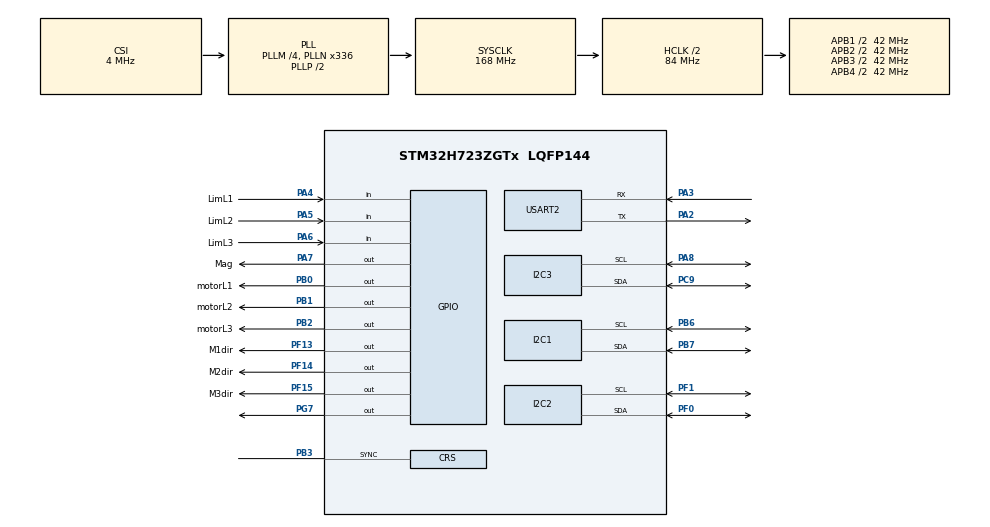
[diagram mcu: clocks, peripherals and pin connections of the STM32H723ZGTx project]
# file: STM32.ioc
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Dma.Request0=USART2_RX
Dma.USART2_RX.0.Direction=DMA_PERIPH_TO_MEMORY
Dma.USART2_RX.0.EventEnable=DISABLE
Dma.USART2_RX.0.FIFOMode=DMA_FIFOMODE_DISABLE
Dma.USART2_RX.0.Instance=DMA1_Stream0
Dma.USART2_RX.0.MemDataAlignment=DMA_MDATAALIGN_BYTE
Dma.USART2_RX.0.MemInc=DMA_MINC_ENABLE
Dma.USART2_RX.0.Mode=DMA_NORMAL
Dma.USART2_RX.0.PeriphDataAlignment=DMA_PDATAALIGN_BYTE
Dma.USART2_RX.0.PeriphInc=DMA_PINC_DISABLE
Dma.USART2_RX.0.Polarity=HAL_DMAMUX_REQ_GEN_RISING
Dma.USART2_RX.0.Priority=DMA_PRIORITY_LOW
Dma.USART2_RX.0.RequestNumber=1
Dma.USART2_RX.0.SignalID=NONE
Dma.USART2_RX.0.SyncEnable=DISABLE
Dma.USART2_RX.0.SyncPolarity=HAL_DMAMUX_SYNC_NO_EVENT
Dma.USART2_RX.0.SyncRequestNumber=1
Dma.USART2_RX.0.SyncSignalID=NONE
I2C1.Timing=0x00A0A3F7
I2C2.Timing=0x00A0A3F7
I2C3.Timing=0x00A0A3F7
Mcu.Family=STM32H7
Mcu.Name=STM32H723ZGTx
Mcu.Package=LQFP144
NVIC.DMA1_Stream0_IRQn=true\:0\:0\:false\:false\:true\:false\:true\:true
NVIC.PriorityGroup=NVIC_PRIORITYGROUP_4
NVIC.TIM2_IRQn=true\:0\:0\:false\:false\:true\:true\:true\:true
NVIC.TIM4_IRQn=true\:0\:0\:false\:false\:true\:true\:true\:true
PA2.Mode=Asynchronous
PA2.Signal=USART2_TX
PA3.Mode=Asynchronous
PA3.Signal=USART2_RX
PA4.GPIO_Label=LimL1
PA4.GPIO_PuPd=GPIO_PULLDOWN
PA4.Signal=GPIO_Input
PA5.GPIO_Label=LimL2
PA5.GPIO_PuPd=GPIO_PULLDOWN
PA5.Signal=GPIO_Input
PA6.GPIO_Label=LimL3
PA6.GPIO_PuPd=GPIO_PULLDOWN
PA6.Signal=GPIO_Input
PA7.GPIO_Label=Mag
PA7.PinState=GPIO_PIN_RESET
PA7.Signal=GPIO_Output
PA8.Mode=I2C
PA8.Signal=I2C3_SCL
PB0.GPIO_Label=motorL1
PB0.GPIO_Speed=GPIO_SPEED_FREQ_MEDIUM
PB0.PinState=GPIO_PIN_RESET
PB0.Signal=GPIO_Output
PB1.GPIO_Label=motorL2
PB1.GPIO_ModeDefaultOutputPP=GPIO_MODE_OUTPUT_PP
PB1.GPIO_Speed=GPIO_SPEED_FREQ_MEDIUM
PB1.PinState=GPIO_PIN_RESET
PB1.Signal=GPIO_Output
PB2.GPIO_Label=motorL3
PB2.GPIO_Speed=GPIO_SPEED_FREQ_VERY_HIGH
PB2.PinState=GPIO_PIN_RESET
PB2.Signal=GPIO_Output
PB3(JTDO/TRACESWO).Mode=CRS SYNC Source GPIO
PB3(JTDO/TRACESWO).Signal=CRS_SYNC
PB6.Mode=I2C
PB6.Signal=I2C1_SCL
PB7.Mode=I2C
PB7.Signal=I2C1_SDA
PC9.Mode=I2C
PC9.Signal=I2C3_SDA
PF0.Mode=I2C
PF0.Signal=I2C2_SDA
PF1.Mode=I2C
PF1.Signal=I2C2_SCL
PF13.GPIO_Label=M1dir
PF13.Signal=GPIO_Output
PF14.GPIO_Label=M2dir
PF14.Signal=GPIO_Output
PF15.GPIO_Label=M3dir
PF15.Signal=GPIO_Output
PG7.Signal=GPIO_Output
PH0-OSC_IN.Mode=HSE-External-Oscillator
PH0-OSC_IN.Signal=RCC_OSC_IN
PH1-OSC_OUT.Mode=HSE-External-Oscillator
PH1-OSC_OUT.Signal=RCC_OSC_OUT
ProjectManager.HeapSize=0x200
ProjectManager.StackSize=0x400
ProjectManager.TargetToolchain=STM32CubeIDE
RCC.ADCFreq_Value=8062500
RCC.APB1Freq_Value=42000000
RCC.APB2Freq_Value=42000000
RCC.APB3Freq_Value=42000000
RCC.APB4Freq_Value=42000000
RCC.CortexFreq_Value=84000000
RCC.D1CPRE=RCC_SYSCLK_DIV2
RCC.D1PPRE=RCC_APB3_DIV2
RCC.D2PPRE1=RCC_APB1_DIV2
RCC.D2PPRE2=RCC_APB2_DIV2
RCC.D3PPRE=RCC_APB4_DIV2
RCC.DIVM1=4
RCC.DIVN1=336
RCC.HCLKFreq_Value=84000000
RCC.HSE_VALUE=8000000
RCC.PLL2FRACN=0
RCC.PLL3FRACN=0
RCC.PLLFRACN=0
RCC.PLLSourceVirtual=RCC_PLLSOURCE_CSI
RCC.SYSCLKFreq_VALUE=168000000
RCC.SYSCLKSource=RCC_SYSCLKSOURCE_PLLCLK
RCC.USBFreq_Value=168000000
TIM2.Period=1
TIM2.Prescaler=42000
TIM4.Period=4
TIM4.Prescaler=840
USART2.VirtualMode-Asynchronous=VM_ASYNC
VP_TIM2_VS_ClockSourceINT.Mode=Internal
VP_TIM4_VS_ClockSourceINT.Mode=Internal
board=custom

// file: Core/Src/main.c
/* USER CODE BEGIN Header */
/**
  ******************************************************************************
  * @file           : main.c
  * @brief          : Main program body
  ******************************************************************************
  * @attention
  *
  * Copyright (c) 2024 STMicroelectronics.
  * All rights reserved.
  *
  * This software is licensed under terms that can be found in the LICENSE file
  * in the root directory of this software component.
  * If no LICENSE file comes with this software, it is provided AS-IS.
  *
  ******************************************************************************
  */
/* USER CODE END Header */
#include "main.h"

/* USER CODE BEGIN Includes */
#include "as5600.h"
#include <stdlib.h>
#include <string.h>
#include <stdlib.h>

/* USER CODE END Includes */

/* USER CODE BEGIN PD */
#define BASE_INTERRUPT_PERIOD_MICROS 25
#define FASTEST_PERIOD_MICROS 100  // Fastest pulse period = 250 microseconds
#define HOMING_PULSE_LIMIT  50000

/* USER CODE END PD */

/* USER CODE BEGIN PM */
AS5600_TypeDef *angleL1;
AS5600_TypeDef *angleL2;
AS5600_TypeDef *angleL3;
/* USER CODE END PM */

I2C_HandleTypeDef hi2c1;
I2C_HandleTypeDef hi2c2;
I2C_HandleTypeDef hi2c3;

TIM_HandleTypeDef htim2;
TIM_HandleTypeDef htim4;

UART_HandleTypeDef huart2;
DMA_HandleTypeDef hdma_usart2_rx;

/* USER CODE BEGIN PV */
float angle1, angle2, angle3 = 0.0, error = 0;
int angle11, angle21, angle31 = 0;
int HOME = 0;

// Define counters for each motor
int countPulseL1 = 0;
int countPulseL2 = 0;
int countPulseL3 = 0;

int a,b,c = 0;
float d = 0;
float e = 0, f = 0,g = 0,h =0,i=0,p=0;
int dir1, dir2, dir3 = 1;
float a3Ratio = 0;
int count = 0;
// Soft counters and periods
int softCounter1 = 0;
int softCounter2 = 0;
int softCounter3 = 0;

int periodMotor1 = 0;
int periodMotor2 = 0;
int periodMotor3 = 0;

float target_angle_1 = 0;
float target_angle_2 = 0;
float target_angle_3 = 0;
float target_angle_1_temp = 1;
float target_angle_2_temp = 1;
float target_angle_3_temp = 1;

int steps_motor_1 = 0;
int steps_motor_2 = 0;
int steps_motor_3 = 0;

char rx_data[30];  // Buffer for incoming data (adjust size as needed)
float rx_angle1, rx_angle2, rx_angle3 = 0;
int receiveComplete;

/* USER CODE END PV */

void SystemClock_Config(void);
static void MX_GPIO_Init(void);
static void MX_DMA_Init(void);
static void MX_I2C1_Init(void);
static void MX_I2C2_Init(void);
static void MX_I2C3_Init(void);
static void MX_TIM4_Init(void);
static void MX_TIM2_Init(void);
static void MX_USART2_UART_Init(void);
/* USER CODE BEGIN PFP */
void pulseCreater(void);
void angleControl(float target_angle_1, float target_angle_2, float target_angle_3);
void update_current_angle(int motor_index, float steps,int direction);
void checkLimitSwitches(void) ;
void setHomeAngles();
/* USER CODE END PFP */

/* USER CODE BEGIN 0 */
//----------------------Ngat Sensor----------------------//
void HAL_TIM_PeriodElapsedCallback(TIM_HandleTypeDef *htim)
{

	//------------
	if (htim->Instance==htim2.Instance)
	{
		if (HOME == 1){
			g+=1;
//			if ( g >= 20000){
//				g = 10000;
//			}
//			if(g > 20000){
//				target_angle_1 = 0;
//				target_angle_2 = 43.2;
//				target_angle_3 = -118;
//			}else if (g > 15000){
//				target_angle_1 = 45;
//				target_angle_2 = 42.42;
//				target_angle_3 = -135.5;
//
//			}else if (g > 14000){
//				target_angle_1 = 45;
//				target_angle_2 = 31.4;
//				target_angle_3 = -90.8;
//
//
//			}else if (g > 10000){
//				target_angle_1 = 0;
//				target_angle_2 = 43.2;
//				target_angle_3 = -118;
//
//			}else{
//				target_angle_1 = 0;
//				target_angle_2 = 90;
//				target_angle_3 = -90;
//			}

			if (g > 47000){
				g = 0;
			}

			if(g > 43000){
				target_angle_1 = 0;
				target_angle_2 = 75;
				target_angle_3 = -90;
			}else if (g > 40000){
				target_angle_1 = 14.04;
				target_angle_2 = 25.65;
				target_angle_3 = -63.8;

			}
			else if (g > 37000){
				target_angle_1 = 0;
				target_angle_2 = 75;
				target_angle_3 = -90;

			}
			else if (g > 34000){
				target_angle_1 = 8.13;
				target_angle_2 = 37.36;
				target_angle_3 = -88.96;

			}
			else if (g > 28000){
				target_angle_1 = 0;
				target_angle_2 = 75;
				target_angle_3 = -90;

			}
			else if (g > 25000){
				target_angle_1 = -9.462;
				target_angle_2 = 44.87;
				target_angle_3 = -106.3;

			}else if (g > 21000){
				target_angle_1 = 0;
				target_angle_2 = 75;
				target_angle_3 = -90;

			}
			else if (g > 18000){
				target_angle_1 = 18.43;
				target_angle_2 = 41.98;
				target_angle_3 = -101.9;

			}
			else if (g > 12000){
							target_angle_1 = 0;
							target_angle_2 = 75;
							target_angle_3 = -90;

						}
			else if (g > 9000){
				target_angle_1 = 0;
				target_angle_2 = 45.43;
				target_angle_3 = -107.6;

			}
			else if (g > 6000){
				target_angle_1 = 0;
				target_angle_2 = 75;
				target_angle_3 = -90;

			}

			else{
				target_angle_1 = 0;
				target_angle_2 = 55.39;
				target_angle_3 = -137.4;
			}

			if ((target_angle_1 != target_angle_1_temp)||(target_angle_2 != target_angle_2_temp)||(target_angle_3 != target_angle_3_temp)){

				target_angle_1_temp = target_angle_1;
				target_angle_2_temp = target_angle_2;
				target_angle_3_temp = target_angle_3;
				countPulseL1 = 0;
				countPulseL2 = 0;
				countPulseL3 = 0;

				angleControl(target_angle_1,target_angle_2,target_angle_3);

			}
			//angle3 = - angle2+ angle3;
			angleControl(target_angle_1,target_angle_2,target_angle_3);

		}
	}

	if (htim->Instance == TIM4)
	{  // Ensure the correct timer is being checked
		// Handle Motor 1
		if (countPulseL1 > 0) {
			softCounter1++;  // Increment soft counter for motor 1
			if (softCounter1 >= periodMotor1) {  // If soft counter reaches the desired period
				HAL_GPIO_TogglePin(GPIOB, motorL1_Pin);  // Toggle Motor 1 pin (generate pulse)
				softCounter1 = 0;  // Reset the soft counter for motor 1
				countPulseL1--;    // Decrement the pulse count
				//e = 360/(44800*2);
				update_current_angle(1,1.0,dir1);
			}
		} else {
			HAL_GPIO_WritePin(GPIOB, motorL1_Pin, GPIO_PIN_RESET);  // Stop Motor 1
		}

		// Handle Motor 2
		if (countPulseL2 > 0) {
			softCounter2++;  // Increment soft counter for motor 2
			if (softCounter2 >= periodMotor2) {  // If soft counter reaches the desired period
				HAL_GPIO_TogglePin(GPIOB, motorL2_Pin);  // Toggle Motor 2 pin (generate pulse)
				softCounter2 = 0;  // Reset the soft counter for motor 2
				countPulseL2--;    // Decrement the pulse count
				update_current_angle(2,1.0,dir2);

			}
		} else {
			HAL_GPIO_WritePin(GPIOB, motorL2_Pin, GPIO_PIN_RESET);  // Stop Motor 2
		}

		// Handle Motor 3
		if (countPulseL3 > 0) {
			softCounter3++;  // Increment soft counter for motor 3
			if (softCounter3 >= periodMotor3) {  // If soft counter reaches the desired period
				HAL_GPIO_TogglePin(GPIOB, motorL3_Pin);  // Toggle Motor 3 pin (generate pulse)
				softCounter3 = 0;  // Reset the soft counter for motor 3
				countPulseL3--;    // Decrement the pulse count
				update_current_angle(3,1.0, dir3);

			}
		} else {
			HAL_GPIO_WritePin(GPIOB, motorL3_Pin, GPIO_PIN_RESET);  // Stop Motor 3
		}
	}
}
//----------------------Pulse Creater--------------------//
int char_to_int(char c)
{
	return (int)(c) - 48;
}

void HAL_UART_RxCpltCallback(UART_HandleTypeDef *huart)
{
	if (huart->Instance == USART2)
	    {
	        // Ensure received data is null-terminated
	        rx_data[29] = '\0';

	        // Parse the received string using strtok
	        char *token = strtok(rx_data, ",");  // Split by comma
	        if (token != NULL) rx_angle1 = atof(token);

	        token = strtok(NULL, ",");
	        if (token != NULL) rx_angle2 = atof(token);

	        token = strtok(NULL, ",");
	        if (token != NULL) rx_angle3 = atof(token);

	        // Restart reception
	        HAL_UART_Receive_DMA(&huart2, (uint8_t *)rx_data, 29);  // Adjust size based on expected length
	        receiveComplete = 1;
	    }
}

void Mag_Control(int state)
{
	HAL_GPIO_WritePin(Mag_GPIO_Port, Mag_Pin, state);
}

void Read_Angles(void)
{
    // Read raw angle from angleL1 sensor
    AS5600_GetRawAngle(angleL1, &angle1);

    // Read raw angle from angleL2 sensor
    AS5600_GetRawAngle(angleL2, &angle2);

    // Read raw angle from angleL3 sensor
    AS5600_GetRawAngle(angleL3, &angle3);

}

void update_current_angle(int motor_index, float steps, int direction) {
    float angle_change = steps * 360.0 / (43840.0 * 2.0); // Calculate the change in angle

    // If direction is negative, reverse the angle change
    if (direction < 0) {
        angle_change = -angle_change;
    }

    switch (motor_index){
        case 1:
            angle1 += angle_change; // Update current angle for motor 1
            break;
        case 2:
            angle2 += angle_change; // Update current angle for motor 2
            angle3 -= angle_change;
            break;
        case 3:
            angle3 += angle_change; // Update current angle for motor 3
            break;
    }
}

int calculate_steps(float current_angle, float target_angle)
{
    // Calculate the angular difference

    float angular_difference ;
    float temp,i;

    temp = target_angle - current_angle;
    if (temp > 0){
    	i = 1;
    }else{
    	i = -1;
    }
	if (fabs(temp) == 0){
		angular_difference = 0;
	}else{
		angular_difference = (target_angle) - current_angle;
	}

    // Convert angular difference to steps
	int steps_needed = (((angular_difference) / 360.0) * 43840.0 * 2.0);
	d = (int)round((0.98 / 360.0) * 43840 * 2.0);
    // Return the absolute number of steps (stepper motors can't move negative steps)
    return steps_needed;
}

int maxSteps(int steps_motor_1, int steps_motor_2, int steps_motor_3)
{
    int max_value = steps_motor_1;  // Assume motor 1 has the maximum steps

    if (steps_motor_2 > max_value) {
        max_value = steps_motor_2;  // Update if motor 2 has more steps
    }

    if (steps_motor_3 > max_value) {
        max_value = steps_motor_3;  // Update if motor 3 has more steps
    }

    return max_value;  // Return the largest number of steps
}

void angleControl(float target_angle_1, float target_angle_2, float target_angle_3) {
	// Read the current angles from the sensors
	//Read_Angles();

	// Calculate the required steps for each motor based on current and target angles
	int steps_motor_1 = calculate_steps(angle1, (target_angle_1));
	int steps_motor_2 = calculate_steps(angle2, (target_angle_2));
	//f = steps_motor_2;
	int steps_motor_3 = calculate_steps(angle3, target_angle_3);

	// Set the pulse counts for each motor
	countPulseL1 = abs(steps_motor_1);
	countPulseL2 = abs(steps_motor_2) ;
	error = angle3 - target_angle_3;

	//countPulseL3 =abs(abs(steps_motor_3) + countPulseL2);
	//steps_motor_3 = countPulseL3;
	//steps_motor_3 = countPulseL3;

	// Determine the direction for each motor and set control pins accordingly
	if (target_angle_1 > angle1) {
		// Move motor 1 clockwise
		dir1 = 1;
		HAL_GPIO_WritePin(GPIOF, M1dir_Pin, GPIO_PIN_SET);

	} else {
		dir1 = -1;
		// Move motor 1 counterclockwise
		HAL_GPIO_WritePin(GPIOF, M1dir_Pin, GPIO_PIN_RESET);
	}

	if (target_angle_2 >= angle2) {
		// Move motor 2 clockwise
		dir2 = 1;
		HAL_GPIO_WritePin(GPIOF, M2dir_Pin, GPIO_PIN_SET);
	} else {
		// Move motor 2 counterclockwise
		dir2 = -1;
		HAL_GPIO_WritePin(GPIOF, M2dir_Pin, GPIO_PIN_RESET);
	}

	if (steps_motor_2 == 0){
		dir2 =1;
	}else if (steps_motor_1 == 0){
		dir3 = -1;
	}

	if (target_angle_3 > angle3 && dir2 == 1) {
		// Motor 3 moves clockwise when Motor 2 is moving clockwise
		h = 1;
		dir3 = 1;
		f = steps_motor_3;
		countPulseL3 = abs(steps_motor_3);
		steps_motor_3 = countPulseL3;
		HAL_GPIO_WritePin(GPIOF, M3dir_Pin, GPIO_PIN_RESET);
	}
	else if (target_angle_3 < angle3 && dir2 == 1) {
		// Motor 3 moves counterclockwise when Motor 2 is moving counterclockwise
		h = 2;
		dir3 = -1;
		countPulseL3 =abs(steps_motor_3);
		steps_motor_3 = countPulseL3;
		HAL_GPIO_WritePin(GPIOF, M3dir_Pin, GPIO_PIN_SET);
	} else if (target_angle_3 < angle3 && dir2 == -1) {
		// Motor 3 moves counterclockwise when Motor 2 is moving counterclockwise
		h = 3;
		dir3 = -1;
		countPulseL3 =abs(steps_motor_3);
		steps_motor_3 = countPulseL3;
		HAL_GPIO_WritePin(GPIOF, M3dir_Pin, GPIO_PIN_SET);
	}
	else if (target_angle_3 > angle3 && dir2 == -1) {
		// Motor 3 moves counterclockwise when Motor 2 is moving counterclockwise
		h = 4;
		dir3 = 1;
		f = steps_motor_3;
		countPulseL3 = abs( steps_motor_3);
		steps_motor_3 = countPulseL3;
		HAL_GPIO_WritePin(GPIOF, M3dir_Pin, GPIO_PIN_RESET);
	} else {
		// Maintain angle3 in sync with angle2’s direction
		h =5;
		dir3 = dir2;
		HAL_GPIO_WritePin(GPIOF, M3dir_Pin, dir3 == 1 ? GPIO_PIN_RESET : GPIO_PIN_SET);
	}

	// Determine the maximum steps needed to synchronize the motors
	int max_steps = maxSteps(abs(steps_motor_1), abs(steps_motor_2), abs(steps_motor_3));

	// Calculate the pulse periods for each motor based on the maximum steps
	periodMotor1 = (int)(((float)max_steps / abs(steps_motor_1)) * (FASTEST_PERIOD_MICROS / BASE_INTERRUPT_PERIOD_MICROS));
	periodMotor2 = (int)(((float)max_steps / abs(steps_motor_2)) * (FASTEST_PERIOD_MICROS / BASE_INTERRUPT_PERIOD_MICROS));
	periodMotor3 = (int)(((float)max_steps / abs(steps_motor_3)) * (FASTEST_PERIOD_MICROS / BASE_INTERRUPT_PERIOD_MICROS));

	// Start the timer if it is not already running (ensure the timer has been initialized)
	//HAL_TIM_Base_Start_IT(&htim4);
}

void autoHomeMotors(void) {
    // Set initial movement direction for homing (assumes motors move towards the limit switches)
    HAL_GPIO_WritePin(GPIOF, M1dir_Pin, GPIO_PIN_RESET); // Move Motor 1 in the homing direction
    HAL_GPIO_WritePin(GPIOF, M2dir_Pin, GPIO_PIN_SET); // Move Motor 2 in the homing direction
    HAL_GPIO_WritePin(GPIOF, M3dir_Pin, GPIO_PIN_SET); // Move Motor 3 in the homing direction

    // Start moving the motors
    countPulseL1 = HOMING_PULSE_LIMIT;  // Arbitrary large value for homing
    countPulseL2 = HOMING_PULSE_LIMIT;  // Arbitrary large value for homing
    countPulseL3 = HOMING_PULSE_LIMIT;  // Arbitrary large value for homing

    periodMotor1 = 8;
	periodMotor2 = 8;
	periodMotor3 = 20;
	int i = 0;

    // Wait until all limit switches are triggered
    while (a == 0 || b == 0 || c == 0 || count <1) {
        checkLimitSwitches(); // Continuously check the limit switches
    }
    while (count == 1){
    	HAL_GPIO_WritePin(GPIOF, M3dir_Pin, GPIO_PIN_RESET);

    	if (countPulseL3 == 0 && i == 0){
    		countPulseL3 = 10060;
    		i = 1;
    	}

    	if (countPulseL3 == 0 && i == 1){
			count = 2;
			a = 0;
			b=0;
			c=0;
			countPulseL3 = 50000;
		}
    }

    while (a == 0 || b == 0 || c == 0 ) {
		checkLimitSwitches(); // Continuously check the limit switches
	}

    // Set the home angle once all limit switches are activated
    HOME = 1;
    setHomeAngles();
}

void setHomeAngles(void) {
    // Set the current angle to zero or a specific home angle as needed
    angle1 = 7.0; // Home position for Motor 1
    angle2 = 86.65; // Home position for Motor 2
    angle3 = -149.65; // Home position for Motor 3

}

void checkLimitSwitches(void) {
    // Check and handle limit switch 1
    if (HAL_GPIO_ReadPin(GPIOA, GPIO_PIN_4) == GPIO_PIN_SET) {
        a = 1;
        countPulseL1 = 0;  // Stop Motor 1 if limit switch 1 is triggered
    } else {
        a = 0;
    }

    // Check and handle limit switch 2, ensuring that it only works if limit switch 3 is not active
    if (HAL_GPIO_ReadPin(GPIOA, GPIO_PIN_5) == GPIO_PIN_SET) {
        b = 1;
        countPulseL2 = 0;  // Stop Motor 2 if limit switch 2 is triggered
    } else {
        b = 0;
    }

    if (a == 1 && b == 1 && c == 1 && count != 1){
      count = 1;

	}

    // Check and handle limit switch 3
    if (HAL_GPIO_ReadPin(GPIOA, GPIO_PIN_6) == GPIO_PIN_SET) {
        c = 1;

		periodMotor3 = periodMotor2;
		countPulseL3 = countPulseL2;  // Stop Motor 3 if limit switch 3 is triggered

        HAL_GPIO_WritePin(GPIOF, M3dir_Pin, GPIO_PIN_RESET);  // Stop motor direction for M3
    } else {
        c = 0;
        HAL_GPIO_WritePin(GPIOF, M3dir_Pin, GPIO_PIN_SET);  // Set motor direction for M3
    }

}

/* USER CODE END 0 */

int main(void)
{

  /* MCU Configuration--------------------------------------------------------*/

  /* Reset of all peripherals, Initializes the Flash interface and the Systick. */
  HAL_Init();

  /* USER CODE BEGIN Init */
//	angleL1 = AS5600_New();
//	angleL1->i2cHandle= &hi2c1;
//	AS5600_Init(angleL1);
//
//	angleL2 = AS5600_New();
//	angleL2->i2cHandle= &hi2c2;
//	AS5600_Init(angleL2);
//
//	angleL3 = AS5600_New();
//	angleL3->i2cHandle= &hi2c3;
//	AS5600_Init(angleL3);
  /* USER CODE END Init */

  /* Configure the system clock */
  SystemClock_Config();

  /* Initialize all configured peripherals */
  MX_GPIO_Init();
  MX_DMA_Init();
  MX_I2C1_Init();
  MX_I2C2_Init();
  MX_I2C3_Init();
  MX_TIM4_Init();
  MX_TIM2_Init();
  MX_USART2_UART_Init();
  /* USER CODE BEGIN 2 */
  HAL_UART_Receive_DMA(&huart2, (uint8_t *)rx_data, 29);
  HAL_TIM_Base_Start_IT(&htim2);
  HAL_TIM_Base_Start_IT(&htim4);

  autoHomeMotors();

//
//

  /* USER CODE END 2 */

  /* Infinite loop */
  while (1)
  {

    /* USER CODE BEGIN 3 */
	  HAL_UART_Transmit(&huart2, "hello", sizeof("hello"), 10);

	  //calc_angle_3();
	  //angleControl(angle1,angle2, angle3);

	    // Stop Motor 3
	  //checkLimitSwitches();
	 // HAL_GPIO_WritePin(GPIOB, motorL3_Pin, GPIO_PIN_RESET);  // Stop Motor 3
//	  HAL_GPIO_WritePin(GPIOF, GPIO_PIN_14, GPIO_PIN_SET);
//	  HAL_Delay(0.1);
//	  HAL_GPIO_WritePin(GPIOF, GPIO_PIN_14, GPIO_PIN_RESET);
//	  HAL_Delay(0.1);
  }
  /* USER CODE END 3 */
}

void SystemClock_Config(void)
{
  RCC_OscInitTypeDef RCC_OscInitStruct = {0};
  RCC_ClkInitTypeDef RCC_ClkInitStruct = {0};
  RCC_CRSInitTypeDef RCC_CRSInitStruct = {0};

  /** Supply configuration update enable
  */
  HAL_PWREx_ConfigSupply(PWR_LDO_SUPPLY);

  /** Configure the main internal regulator output voltage
  */
  __HAL_PWR_VOLTAGESCALING_CONFIG(PWR_REGULATOR_VOLTAGE_SCALE3);

  while(!__HAL_PWR_GET_FLAG(PWR_FLAG_VOSRDY)) {}

  /** Initializes the RCC Oscillators according to the specified parameters
  * in the RCC_OscInitTypeDef structure.
  */
  RCC_OscInitStruct.OscillatorType = RCC_OSCILLATORTYPE_HSI48|RCC_OSCILLATORTYPE_CSI;
  RCC_OscInitStruct.HSI48State = RCC_HSI48_ON;
  RCC_OscInitStruct.CSIState = RCC_CSI_ON;
  RCC_OscInitStruct.CSICalibrationValue = 16;
  RCC_OscInitStruct.PLL.PLLState = RCC_PLL_ON;
  RCC_OscInitStruct.PLL.PLLSource = RCC_PLLSOURCE_CSI;
  RCC_OscInitStruct.PLL.PLLM = 4;
  RCC_OscInitStruct.PLL.PLLN = 336;
  RCC_OscInitStruct.PLL.PLLP = 2;
  RCC_OscInitStruct.PLL.PLLQ = 2;
  RCC_OscInitStruct.PLL.PLLR = 2;
  RCC_OscInitStruct.PLL.PLLRGE = RCC_PLL1VCIRANGE_0;
  RCC_OscInitStruct.PLL.PLLVCOSEL = RCC_PLL1VCOMEDIUM;
  RCC_OscInitStruct.PLL.PLLFRACN = 0;
  if (HAL_RCC_OscConfig(&RCC_OscInitStruct) != HAL_OK)
  {
    Error_Handler();
  }

  /** Initializes the CPU, AHB and APB buses clocks
  */
  RCC_ClkInitStruct.ClockType = RCC_CLOCKTYPE_HCLK|RCC_CLOCKTYPE_SYSCLK
                              |RCC_CLOCKTYPE_PCLK1|RCC_CLOCKTYPE_PCLK2
                              |RCC_CLOCKTYPE_D3PCLK1|RCC_CLOCKTYPE_D1PCLK1;
  RCC_ClkInitStruct.SYSCLKSource = RCC_SYSCLKSOURCE_PLLCLK;
  RCC_ClkInitStruct.SYSCLKDivider = RCC_SYSCLK_DIV2;
  RCC_ClkInitStruct.AHBCLKDivider = RCC_HCLK_DIV1;
  RCC_ClkInitStruct.APB3CLKDivider = RCC_APB3_DIV2;
  RCC_ClkInitStruct.APB1CLKDivider = RCC_APB1_DIV2;
  RCC_ClkInitStruct.APB2CLKDivider = RCC_APB2_DIV2;
  RCC_ClkInitStruct.APB4CLKDivider = RCC_APB4_DIV2;

  if (HAL_RCC_ClockConfig(&RCC_ClkInitStruct, FLASH_LATENCY_2) != HAL_OK)
  {
    Error_Handler();
  }

  /** Enable the SYSCFG APB clock
  */
  __HAL_RCC_CRS_CLK_ENABLE();

  /** Configures CRS
  */
  RCC_CRSInitStruct.Prescaler = RCC_CRS_SYNC_DIV1;
  RCC_CRSInitStruct.Source = RCC_CRS_SYNC_SOURCE_USB1;
  RCC_CRSInitStruct.Polarity = RCC_CRS_SYNC_POLARITY_RISING;
  RCC_CRSInitStruct.ReloadValue = __HAL_RCC_CRS_RELOADVALUE_CALCULATE(48000000,1);
  RCC_CRSInitStruct.ErrorLimitValue = 34;
  RCC_CRSInitStruct.HSI48CalibrationValue = 32;

  HAL_RCCEx_CRSConfig(&RCC_CRSInitStruct);
}

static void MX_I2C1_Init(void)
{

  hi2c1.Instance = I2C1;
  hi2c1.Init.Timing = 0x00A0A3F7;
  hi2c1.Init.OwnAddress1 = 0;
  hi2c1.Init.AddressingMode = I2C_ADDRESSINGMODE_7BIT;
  hi2c1.Init.DualAddressMode = I2C_DUALADDRESS_DISABLE;
  hi2c1.Init.OwnAddress2 = 0;
  hi2c1.Init.OwnAddress2Masks = I2C_OA2_NOMASK;
  hi2c1.Init.GeneralCallMode = I2C_GENERALCALL_DISABLE;
  hi2c1.Init.NoStretchMode = I2C_NOSTRETCH_DISABLE;
  if (HAL_I2C_Init(&hi2c1) != HAL_OK)
  {
    Error_Handler();
  }

  /** Configure Analogue filter
  */
  if (HAL_I2CEx_ConfigAnalogFilter(&hi2c1, I2C_ANALOGFILTER_ENABLE) != HAL_OK)
  {
    Error_Handler();
  }

  /** Configure Digital filter
  */
  if (HAL_I2CEx_ConfigDigitalFilter(&hi2c1, 0) != HAL_OK)
  {
    Error_Handler();
  }

}

static void MX_I2C2_Init(void)
{

  hi2c2.Instance = I2C2;
  hi2c2.Init.Timing = 0x00A0A3F7;
  hi2c2.Init.OwnAddress1 = 0;
  hi2c2.Init.AddressingMode = I2C_ADDRESSINGMODE_7BIT;
  hi2c2.Init.DualAddressMode = I2C_DUALADDRESS_DISABLE;
  hi2c2.Init.OwnAddress2 = 0;
  hi2c2.Init.OwnAddress2Masks = I2C_OA2_NOMASK;
  hi2c2.Init.GeneralCallMode = I2C_GENERALCALL_DISABLE;
  hi2c2.Init.NoStretchMode = I2C_NOSTRETCH_DISABLE;
  if (HAL_I2C_Init(&hi2c2) != HAL_OK)
  {
    Error_Handler();
  }

  /** Configure Analogue filter
  */
  if (HAL_I2CEx_ConfigAnalogFilter(&hi2c2, I2C_ANALOGFILTER_ENABLE) != HAL_OK)
  {
    Error_Handler();
  }

  /** Configure Digital filter
  */
  if (HAL_I2CEx_ConfigDigitalFilter(&hi2c2, 0) != HAL_OK)
  {
    Error_Handler();
  }

}

static void MX_I2C3_Init(void)
{

  hi2c3.Instance = I2C3;
  hi2c3.Init.Timing = 0x00A0A3F7;
  hi2c3.Init.OwnAddress1 = 0;
  hi2c3.Init.AddressingMode = I2C_ADDRESSINGMODE_7BIT;
  hi2c3.Init.DualAddressMode = I2C_DUALADDRESS_DISABLE;
  hi2c3.Init.OwnAddress2 = 0;
  hi2c3.Init.OwnAddress2Masks = I2C_OA2_NOMASK;
  hi2c3.Init.GeneralCallMode = I2C_GENERALCALL_DISABLE;
  hi2c3.Init.NoStretchMode = I2C_NOSTRETCH_DISABLE;
  if (HAL_I2C_Init(&hi2c3) != HAL_OK)
  {
    Error_Handler();
  }

  /** Configure Analogue filter
  */
  if (HAL_I2CEx_ConfigAnalogFilter(&hi2c3, I2C_ANALOGFILTER_ENABLE) != HAL_OK)
  {
    Error_Handler();
  }

  /** Configure Digital filter
  */
  if (HAL_I2CEx_ConfigDigitalFilter(&hi2c3, 0) != HAL_OK)
  {
    Error_Handler();
  }

}

static void MX_TIM2_Init(void)
{

  TIM_ClockConfigTypeDef sClockSourceConfig = {0};
  TIM_MasterConfigTypeDef sMasterConfig = {0};

  htim2.Instance = TIM2;
  htim2.Init.Prescaler = 42000;
  htim2.Init.CounterMode = TIM_COUNTERMODE_UP;
  htim2.Init.Period = 1;
  htim2.Init.ClockDivision = TIM_CLOCKDIVISION_DIV1;
  htim2.Init.AutoReloadPreload = TIM_AUTORELOAD_PRELOAD_DISABLE;
  if (HAL_TIM_Base_Init(&htim2) != HAL_OK)
  {
    Error_Handler();
  }
  sClockSourceConfig.ClockSource = TIM_CLOCKSOURCE_INTERNAL;
  if (HAL_TIM_ConfigClockSource(&htim2, &sClockSourceConfig) != HAL_OK)
  {
    Error_Handler();
  }
  sMasterConfig.MasterOutputTrigger = TIM_TRGO_RESET;
  sMasterConfig.MasterSlaveMode = TIM_MASTERSLAVEMODE_DISABLE;
  if (HAL_TIMEx_MasterConfigSynchronization(&htim2, &sMasterConfig) != HAL_OK)
  {
    Error_Handler();
  }

}

static void MX_TIM4_Init(void)
{

  TIM_ClockConfigTypeDef sClockSourceConfig = {0};
  TIM_MasterConfigTypeDef sMasterConfig = {0};

  htim4.Instance = TIM4;
  htim4.Init.Prescaler = 840;
  htim4.Init.CounterMode = TIM_COUNTERMODE_UP;
  htim4.Init.Period = 4;
  htim4.Init.ClockDivision = TIM_CLOCKDIVISION_DIV1;
  htim4.Init.AutoReloadPreload = TIM_AUTORELOAD_PRELOAD_DISABLE;
  if (HAL_TIM_Base_Init(&htim4) != HAL_OK)
  {
    Error_Handler();
  }
  sClockSourceConfig.ClockSource = TIM_CLOCKSOURCE_INTERNAL;
  if (HAL_TIM_ConfigClockSource(&htim4, &sClockSourceConfig) != HAL_OK)
  {
    Error_Handler();
  }
  sMasterConfig.MasterOutputTrigger = TIM_TRGO_RESET;
  sMasterConfig.MasterSlaveMode = TIM_MASTERSLAVEMODE_DISABLE;
  if (HAL_TIMEx_MasterConfigSynchronization(&htim4, &sMasterConfig) != HAL_OK)
  {
    Error_Handler();
  }

}

static void MX_USART2_UART_Init(void)
{

  huart2.Instance = USART2;
  huart2.Init.BaudRate = 115200;
  huart2.Init.WordLength = UART_WORDLENGTH_8B;
  huart2.Init.StopBits = UART_STOPBITS_1;
  huart2.Init.Parity = UART_PARITY_NONE;
  huart2.Init.Mode = UART_MODE_TX_RX;
  huart2.Init.HwFlowCtl = UART_HWCONTROL_NONE;
  huart2.Init.OverSampling = UART_OVERSAMPLING_16;
  huart2.Init.OneBitSampling = UART_ONE_BIT_SAMPLE_DISABLE;
  huart2.Init.ClockPrescaler = UART_PRESCALER_DIV1;
  huart2.AdvancedInit.AdvFeatureInit = UART_ADVFEATURE_NO_INIT;
  if (HAL_UART_Init(&huart2) != HAL_OK)
  {
    Error_Handler();
  }
  if (HAL_UARTEx_SetTxFifoThreshold(&huart2, UART_TXFIFO_THRESHOLD_1_8) != HAL_OK)
  {
    Error_Handler();
  }
  if (HAL_UARTEx_SetRxFifoThreshold(&huart2, UART_RXFIFO_THRESHOLD_1_8) != HAL_OK)
  {
    Error_Handler();
  }
  if (HAL_UARTEx_DisableFifoMode(&huart2) != HAL_OK)
  {
    Error_Handler();
  }

}

static void MX_DMA_Init(void)
{

  /* DMA controller clock enable */
  __HAL_RCC_DMA1_CLK_ENABLE();

  /* DMA interrupt init */
  /* DMA1_Stream0_IRQn interrupt configuration */
  HAL_NVIC_SetPriority(DMA1_Stream0_IRQn, 0, 0);
  HAL_NVIC_EnableIRQ(DMA1_Stream0_IRQn);

}

static void MX_GPIO_Init(void)
{
  GPIO_InitTypeDef GPIO_InitStruct = {0};

  /* GPIO Ports Clock Enable */
  __HAL_RCC_GPIOF_CLK_ENABLE();
  __HAL_RCC_GPIOH_CLK_ENABLE();
  __HAL_RCC_GPIOA_CLK_ENABLE();
  __HAL_RCC_GPIOB_CLK_ENABLE();
  __HAL_RCC_GPIOG_CLK_ENABLE();
  __HAL_RCC_GPIOC_CLK_ENABLE();

  /*Configure GPIO pin Output Level */
  HAL_GPIO_WritePin(Mag_GPIO_Port, Mag_Pin, GPIO_PIN_RESET);

  /*Configure GPIO pin Output Level */
  HAL_GPIO_WritePin(GPIOB, motorL1_Pin|motorL2_Pin|motorL3_Pin, GPIO_PIN_RESET);

  /*Configure GPIO pin Output Level */
  HAL_GPIO_WritePin(GPIOF, M1dir_Pin|M2dir_Pin|M3dir_Pin, GPIO_PIN_RESET);

  /*Configure GPIO pin Output Level */
  HAL_GPIO_WritePin(GPIOG, GPIO_PIN_7, GPIO_PIN_RESET);

  /*Configure GPIO pins : LimL1_Pin LimL2_Pin LimL3_Pin */
  GPIO_InitStruct.Pin = LimL1_Pin|LimL2_Pin|LimL3_Pin;
  GPIO_InitStruct.Mode = GPIO_MODE_INPUT;
  GPIO_InitStruct.Pull = GPIO_PULLDOWN;
  HAL_GPIO_Init(GPIOA, &GPIO_InitStruct);

  /*Configure GPIO pin : Mag_Pin */
  GPIO_InitStruct.Pin = Mag_Pin;
  GPIO_InitStruct.Mode = GPIO_MODE_OUTPUT_PP;
  GPIO_InitStruct.Pull = GPIO_NOPULL;
  GPIO_InitStruct.Speed = GPIO_SPEED_FREQ_LOW;
  HAL_GPIO_Init(Mag_GPIO_Port, &GPIO_InitStruct);

  /*Configure GPIO pins : motorL1_Pin motorL2_Pin */
  GPIO_InitStruct.Pin = motorL1_Pin|motorL2_Pin;
  GPIO_InitStruct.Mode = GPIO_MODE_OUTPUT_PP;
  GPIO_InitStruct.Pull = GPIO_NOPULL;
  GPIO_InitStruct.Speed = GPIO_SPEED_FREQ_MEDIUM;
  HAL_GPIO_Init(GPIOB, &GPIO_InitStruct);

  /*Configure GPIO pin : motorL3_Pin */
  GPIO_InitStruct.Pin = motorL3_Pin;
  GPIO_InitStruct.Mode = GPIO_MODE_OUTPUT_PP;
  GPIO_InitStruct.Pull = GPIO_NOPULL;
  GPIO_InitStruct.Speed = GPIO_SPEED_FREQ_VERY_HIGH;
  HAL_GPIO_Init(motorL3_GPIO_Port, &GPIO_InitStruct);

  /*Configure GPIO pins : M1dir_Pin M2dir_Pin M3dir_Pin */
  GPIO_InitStruct.Pin = M1dir_Pin|M2dir_Pin|M3dir_Pin;
  GPIO_InitStruct.Mode = GPIO_MODE_OUTPUT_PP;
  GPIO_InitStruct.Pull = GPIO_NOPULL;
  GPIO_InitStruct.Speed = GPIO_SPEED_FREQ_LOW;
  HAL_GPIO_Init(GPIOF, &GPIO_InitStruct);

  /*Configure GPIO pin : PG7 */
  GPIO_InitStruct.Pin = GPIO_PIN_7;
  GPIO_InitStruct.Mode = GPIO_MODE_OUTPUT_PP;
  GPIO_InitStruct.Pull = GPIO_NOPULL;
  GPIO_InitStruct.Speed = GPIO_SPEED_FREQ_LOW;
  HAL_GPIO_Init(GPIOG, &GPIO_InitStruct);

  /*Configure GPIO pin : PB3 */
  GPIO_InitStruct.Pin = GPIO_PIN_3;
  GPIO_InitStruct.Mode = GPIO_MODE_AF_PP;
  GPIO_InitStruct.Pull = GPIO_NOPULL;
  GPIO_InitStruct.Speed = GPIO_SPEED_FREQ_LOW;
  GPIO_InitStruct.Alternate = GPIO_AF10_CRS_SYNC;
  HAL_GPIO_Init(GPIOB, &GPIO_InitStruct);

}

void Error_Handler(void)
{
  __disable_irq();
  while (1)
  {
  }
}
